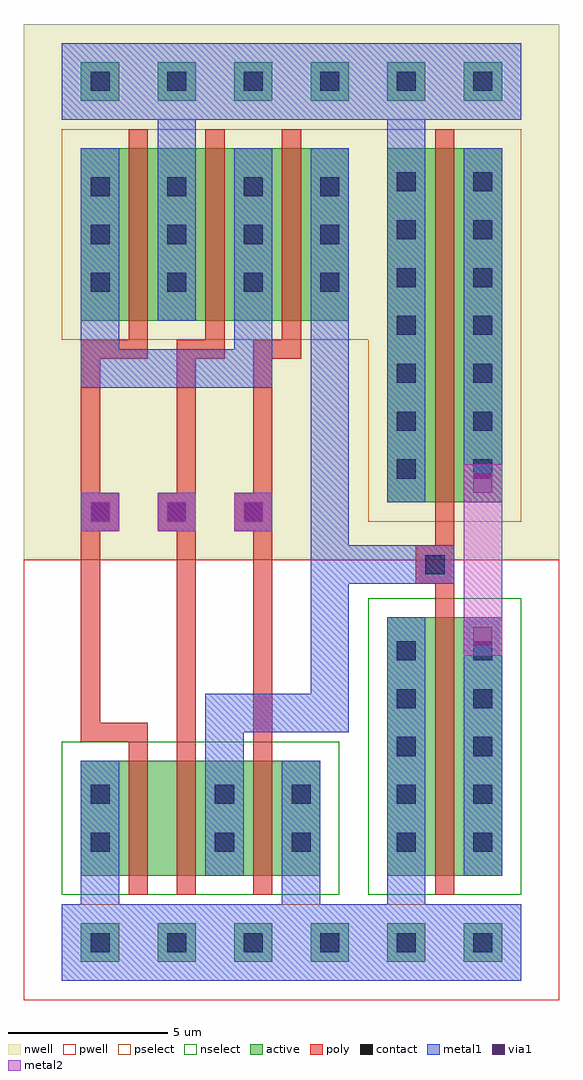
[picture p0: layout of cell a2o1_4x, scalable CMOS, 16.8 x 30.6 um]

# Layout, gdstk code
import gdstk
lib = gdstk.Library(unit=1e-6, precision=1e-09)
def R(c, l, rs):  # rectangles x0, y0, x1, y1
    for r in rs: c.add(gdstk.rectangle(r[:2], r[2:], *l))
def A(c, l, x, y, w, h, nx, ny, dx, dy):  # array of equal rectangles
    R(c, l, [(x+i*dx, y+j*dy, x+i*dx+w, y+j*dy+h) for i in range(nx) for j in range(ny)])
contact = (25, 0)
pwell = (41, 0)
nwell = (42, 0)
active = (43, 0)
pselect = (44, 0)
nselect = (45, 0)
poly = (46, 0)
metal1 = (49, 0)
via1 = (50, 0)
metal2 = (51, 0)

a2o1_4x = lib.new_cell('a2o1_4x')
A(a2o1_4x, contact, 0.3, -0.3, 0.6, 0.6, 6, 2, 2.4, 27)
A(a2o1_4x, contact, 9.9, 2.85, 0.6, 0.6, 1, 5, 0, 1.5)
A(a2o1_4x, contact, 12.3, 2.85, 0.6, 0.6, 1, 5, 0, 1.5)
A(a2o1_4x, contact, 0.3, 13.2, 0.6, 0.6, 3, 1, 2.4, 0)
A(a2o1_4x, contact, 9.9, 14.55, 0.6, 0.6, 1, 7, 0, 1.5)
A(a2o1_4x, contact, 12.3, 14.55, 0.6, 0.6, 1, 7, 0, 1.5)
A(a2o1_4x, contact, 0.3, 20.4, 0.6, 0.6, 4, 3, 2.4, 1.5)
R(a2o1_4x, contact, [(0.3,2.85,0.9,3.45), (4.2,2.85,4.8,3.45), (6.6,2.85,7.2,3.45), (0.3,4.35,0.9,4.95), (4.2,4.35,4.8,4.95), (6.6,4.35,7.2,4.95), (10.8,11.55,11.4,12.15)])
A(a2o1_4x, pwell, -0.9, -1.5, 3, 3, 6, 1, 2.4, 0)
R(a2o1_4x, pwell, [(-1.8,-1.8,15,12), (-1.8,0.3,3,7.5), (-1.2,0.3,4.8,7.5), (0.3,0.3,6.3,7.5), (2.1,0.3,6.9,7.5), (2.7,0.3,8.7,7.5), (4.5,0.3,9.3,7.5), (7.8,0.3,12.6,12), (8.4,0.3,14.4,12), (10.2,0.3,15,12), (-1.65,1.65,2.925,6.15), (-0.075,1.65,5.175,6.15), (2.175,1.65,6.75,6.15), (2.25,1.65,6.825,6.15), (4.575,1.65,9.15,6.15), (7.95,3.75,12.525,8.25), (10.275,3.75,14.85,8.25)])
A(a2o1_4x, nwell, -1.8, 17.7, 4.8, 9, 4, 1, 2.4, 0)
A(a2o1_4x, nwell, -1.2, 17.7, 6, 9, 3, 1, 2.4, 0)
A(a2o1_4x, nwell, -0.9, 25.5, 3, 3, 6, 1, 2.4, 0)
R(a2o1_4x, nwell, [(-1.8,12,15,28.8), (7.8,12,12.6,26.7), (8.4,12,14.4,26.7), (10.2,12,15,26.7), (7.95,17.1,12.525,21.6), (10.275,17.1,14.85,21.6), (-1.65,19.95,2.925,24.45), (0.675,19.95,5.25,24.45), (0.75,19.95,5.325,24.45), (3.075,19.95,7.65,24.45), (3.15,19.95,7.725,24.45), (5.475,19.95,10.05,24.45)])
A(a2o1_4x, active, 0, -0.6, 1.2, 1.2, 6, 2, 2.4, 27)
A(a2o1_4x, active, 0, 19.5, 1.2, 5.4, 4, 1, 2.4, 0)
A(a2o1_4x, active, 0.6, 19.5, 2.4, 5.4, 3, 1, 2.4, 0)
R(a2o1_4x, active, [(0,2.1,1.2,5.7), (0.6,2.1,3,5.7), (2.1,2.1,4.5,5.7), (3.9,2.1,5.1,5.7), (4.5,2.1,6.9,5.7), (6.3,2.1,7.5,5.7), (9.6,2.1,10.8,10.2), (10.2,2.1,12.6,10.2), (12,2.1,13.2,10.2), (0.15,3.45,1.125,4.35), (1.725,3.45,3.375,4.35), (3.975,3.45,4.95,4.35), (4.05,3.45,5.025,4.35), (6.375,3.45,7.35,4.35), (9.75,5.55,10.725,6.45), (12.075,5.55,13.05,6.45), (9.6,13.8,10.8,24.9), (10.2,13.8,12.6,24.9), (12,13.8,13.2,24.9), (9.75,18.9,10.725,19.8), (12.075,18.9,13.05,19.8), (0.15,21.75,1.125,22.65), (2.475,21.75,3.45,22.65), (2.55,21.75,3.525,22.65), (4.875,21.75,5.85,22.65), (4.95,21.75,5.925,22.65), (7.275,21.75,8.25,22.65)])
A(a2o1_4x, pselect, -0.6, -1.2, 2.4, 2.4, 6, 1, 2.4, 0)
A(a2o1_4x, pselect, -0.6, 18.9, 2.4, 6.6, 4, 1, 2.4, 0)
A(a2o1_4x, pselect, 0, 18.9, 3.6, 6.6, 3, 1, 2.4, 0)
R(a2o1_4x, pselect, [(9,13.2,11.4,25.5), (9.6,13.2,13.2,25.5), (11.4,13.2,13.8,25.5), (9.15,18.3,11.325,20.4), (11.475,18.3,13.65,20.4), (-0.45,21.15,1.725,23.25), (1.875,21.15,4.05,23.25), (1.95,21.15,4.125,23.25), (4.275,21.15,6.45,23.25), (4.35,21.15,6.525,23.25), (6.675,21.15,8.85,23.25)])
A(a2o1_4x, nselect, -0.6, 25.8, 2.4, 2.4, 6, 1, 2.4, 0)
R(a2o1_4x, nselect, [(-0.6,1.5,1.8,6.3), (0,1.5,3.6,6.3), (1.5,1.5,5.1,6.3), (3.3,1.5,5.7,6.3), (3.9,1.5,7.5,6.3), (5.7,1.5,8.1,6.3), (9,1.5,11.4,10.8), (9.6,1.5,13.2,10.8), (11.4,1.5,13.8,10.8), (-0.45,2.85,1.725,4.95), (1.125,2.85,3.975,4.95), (3.375,2.85,5.55,4.95), (3.45,2.85,5.625,4.95), (5.775,2.85,7.95,4.95), (9.15,4.95,11.325,7.05), (11.475,4.95,13.65,7.05)])
A(a2o1_4x, poly, 0, 12.9, 1.2, 1.2, 3, 1, 2.4, 0)
A(a2o1_4x, poly, 1.5, 18.3, 0.6, 0.9, 3, 1, 2.4, 0)
A(a2o1_4x, poly, 1.5, 18.9, 0.6, 6.6, 3, 1, 2.4, 0)
R(a2o1_4x, poly, [(1.5,1.5,2.1,6.3), (3,1.5,3.6,6.3), (5.4,1.5,6,6.3), (11.1,1.5,11.7,10.8), (1.5,6,2.1,6.9), (3,6,3.6,13.8), (5.4,6,6,13.8), (0,6.3,2.1,6.9), (0,6.3,0.9,6.9), (0,6.3,0.6,13.8), (11.1,10.5,11.7,12.15), (10.5,11.25,11.7,12.45), (10.8,11.55,11.7,12.15), (11.1,11.55,11.7,13.5), (0,13.2,0.9,13.8), (0,13.2,0.6,18.9), (2.7,13.2,3.6,13.8), (3,13.2,3.6,18.9), (5.1,13.2,6,13.8), (5.4,13.2,6,18.9), (11.1,13.2,11.7,25.5), (0,18.3,2.1,18.9), (3,18.3,4.5,18.9), (5.4,18.3,6.9,18.9)])
A(a2o1_4x, metal1, 0, -0.6, 1.2, 1.2, 6, 1, 2.4, 0)
A(a2o1_4x, metal1, 0, 19.5, 1.2, 5.4, 4, 1, 2.4, 0)
A(a2o1_4x, metal1, -0.6, 25.8, 4.8, 2.4, 5, 1, 2.4, 0)
A(a2o1_4x, metal1, 0, 26.4, 1.2, 1.2, 4, 1, 2.4, 0)
A(a2o1_4x, metal1, 7.2, 26.4, 1.2, 1.2, 3, 1, 2.4, 0)
R(a2o1_4x, metal1, [(-0.6,-1.2,4.2,1.2), (-0.6,-1.2,4.2,1.2), (1.8,-1.2,6.6,1.2), (4.2,-1.2,8.1,1.2), (5.7,-1.2,9,1.2), (5.7,-1.2,9,1.2), (6.6,-1.2,11.4,1.2), (9,-1.2,11.4,1.2), (9,-1.2,13.8,1.2), (0,-0.6,1.2,3.3), (6.3,-0.6,7.5,3.3), (9.6,-0.6,10.8,3.3), (0.15,-0.45,1.05,0.45), (7.35,-0.45,8.25,0.45), (0,2.1,1.2,5.7), (3.9,2.1,5.1,5.7), (6.3,2.1,7.5,5.7), (9.6,2.1,10.8,10.2), (12,2.1,13.2,10.2), (3.9,4.5,5.1,7.8), (3.9,6.6,8.4,7.8), (7.2,6.6,8.4,12.45), (12,9,13.2,10.2), (12,9,13.2,10.2), (7.2,11.25,8.4,22.8), (7.2,11.25,11.7,12.45), (10.5,11.25,11.7,12.45), (0,12.9,1.2,14.1), (0,12.9,1.2,14.1), (0,12.9,1.2,14.1), (0,12.9,1.2,14.1), (2.4,12.9,3.6,14.1), (2.4,12.9,3.6,14.1), (4.8,12.9,6,14.1), (4.8,12.9,6,14.1), (4.8,12.9,6,14.1), (2.55,13.05,3.45,13.95), (9.6,13.8,10.8,24.9), (12,13.8,13.2,15), (12,13.8,13.2,15), (12,13.8,13.2,24.9), (0,17.4,1.2,20.7), (0,17.4,6,18.6), (4.8,17.4,6,20.7), (2.4,23.7,3.6,27.6), (9.6,23.7,10.8,27.6), (-0.6,25.8,1.8,28.2), (-0.6,25.8,4.2,28.2), (1.8,25.8,9,28.2), (0,26.4,1.2,27.6), (0.15,26.55,1.05,27.45)])
A(a2o1_4x, via1, 0.3, 13.2, 0.6, 0.6, 3, 1, 2.4, 0)
R(a2o1_4x, via1, [(12.3,9.3,12.9,9.9), (12.3,14.1,12.9,14.7)])
A(a2o1_4x, metal2, 0, 12.9, 1.2, 1.2, 3, 1, 2.4, 0)
R(a2o1_4x, metal2, [(12,9,13.2,10.2), (12,9,13.2,15), (12,13.8,13.2,15)])

lib.write_gds('a2o1_4x.gds')
